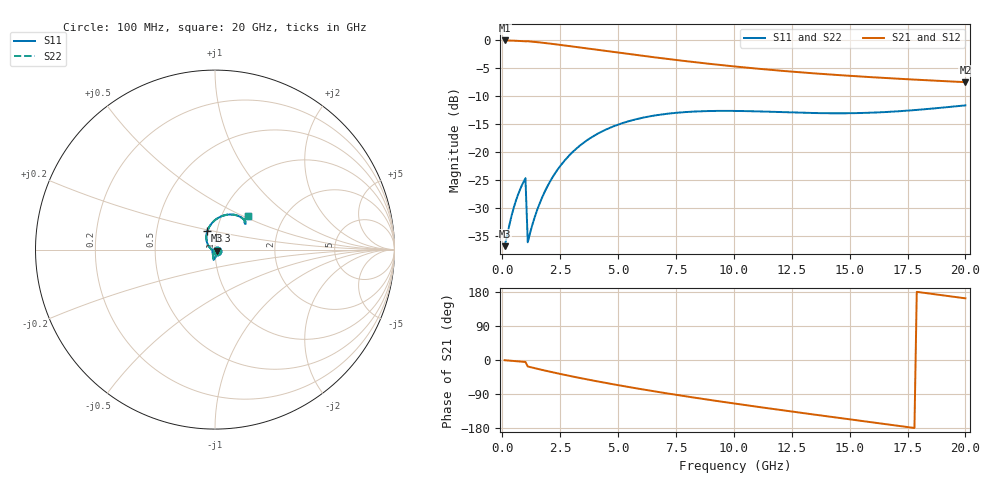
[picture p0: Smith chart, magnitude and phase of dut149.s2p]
! Created with skrf 1.9.0 (http://scikit-rf.org).
# GHz S RI R 50.0
!freq ReS11 ImS11 ReS21 ImS21 ReS12 ImS12 ReS22 ImS22
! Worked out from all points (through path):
!   200 points, 100 MHz to 20 GHz, reference 50 ohm
!   highest |S21| = -0.12 dB at 100 MHz (marker M1); lowest = -7.6 dB at 20 GHz (marker M2)
!   group delay of S21, straight-line fit = 26.3 ps
!   lowest |S11| = -36.8 dB at 100 MHz (marker M3), VSWR 1.03, Z = 51.3 - j0.647 ohm
!   |S11| at or under -10 dB: start of sweep to end of sweep
!   |S22| runs from -36.8 to -11.7 dB; largest |S21 - S12| = 2.7e-15
!   S11 on the Smith chart (normalised r, x): 100 MHz: 1.03, -0.01; 3.3 GHz: 0.90, +0.19; 20 GHz: 1.32, +0.53
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0.1  0.0129 -0.00631  0.9866 -0.00957  0.9866 -0.00957  0.0129 -0.00631
0.5  0.00771 -0.031  0.981 -0.0467  0.981 -0.0467  0.00771 -0.031
0.7  0.00262 -0.0425  0.9757 -0.0641  0.9757 -0.0641  0.00262 -0.0425
1  -0.00761 -0.0576  0.9653 -0.0882  0.9653 -0.0882  -0.00761 -0.0576
1.1  -0.0156 0.000107  0.9277 -0.2862  0.9277 -0.2862  -0.0156 0.000107
1.3  -0.022 0.00436  0.9038 -0.331  0.9038 -0.331  -0.022 0.00436
1.5  -0.0282 0.0102  0.8773 -0.373  0.8773 -0.373  -0.0282 0.0102
1.7  -0.034 0.0175  0.8488 -0.412  0.8488 -0.412  -0.034 0.0175
2  -0.0412 0.0308  0.8031 -0.465  0.8031 -0.465  -0.0412 0.0308
2.6  -0.0482 0.0629  0.705 -0.552  0.705 -0.552  -0.0482 0.0629
3.3  -0.0426 0.1029  0.5861 -0.625  0.5861 -0.625  -0.0426 0.1029
3.5  -0.0385 0.1137  0.5521 -0.641  0.5521 -0.641  -0.0385 0.1137
4.2  -0.0176 0.147  0.4352 -0.6819  0.4352 -0.6819  -0.0176 0.147
4.9  0.0097 0.1716  0.3236 -0.7027  0.3236 -0.7027  0.0097 0.1716
6.8  0.0873 0.1957  0.06 -0.6857  0.06 -0.6857  0.0873 0.1957
8.4  0.1347 0.1856  -0.112 -0.6183  -0.112 -0.6183  0.1347 0.1856
10.1  0.1619 0.1658  -0.2483 -0.5201  -0.2483 -0.5201  0.1619 0.1658
11.7  0.1707 0.1503  -0.3396 -0.4157  -0.3396 -0.4157  0.1707 0.1503
13.4  0.1701 0.1428  -0.4038 -0.2996  -0.4038 -0.2996  0.1701 0.1428
15  0.1667 0.1452  -0.4376 -0.1897  -0.4376 -0.1897  0.1667 0.1452
16.7  0.1656 0.1558  -0.4478 -0.0754  -0.4478 -0.0754  0.1656 0.1558
20  0.1814 0.1859  -0.3998 0.1242  -0.3998 0.1242  0.1814 0.1859
